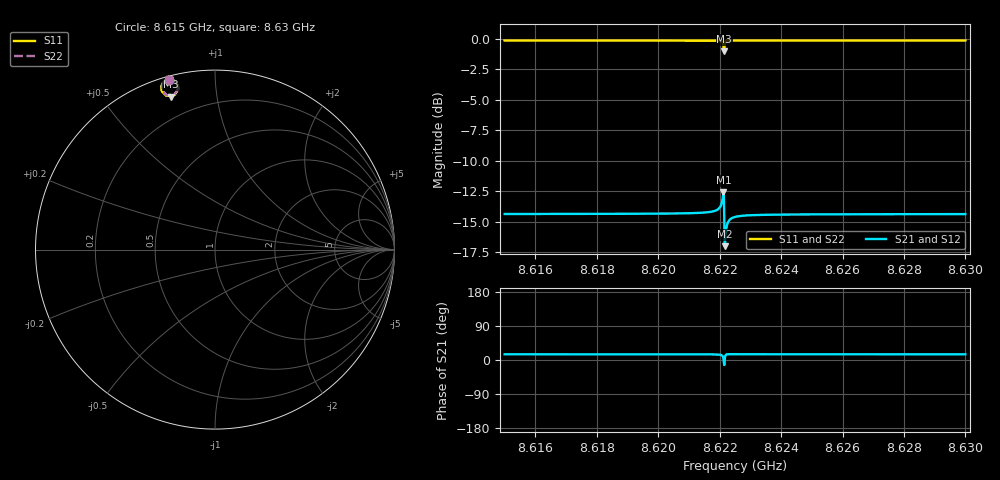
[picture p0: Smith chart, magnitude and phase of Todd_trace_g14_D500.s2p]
! Sonnet Data File
! From: emgraph Version : 16.52
! From Emgraph Data: 171114transmon_trace_brg
! Data File Written: 11/14/2017 20:36:31
!< HDATE 11/14/2017 20:04:23
!< MDATE 11/14/2017 20:04:23
!< PARAMS
!< Lj = 15.24
!< Gap = 14.0
!< Width = 10.0
!< Pwidth = 2000.0
!< Dist = 500.0
!< END PARAMS
# GHZ S MA R 34.87000
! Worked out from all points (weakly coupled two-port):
!   3597 points, 8.615 GHz to 8.63 GHz, reference 34.87 ohm
!   highest |S21| = -12.60 dB at 8.62213 GHz (marker M1); lowest = -17.0 dB at 8.62217 GHz (marker M2)
!   lowest |S11| = -1.0 dB at 8.62214 GHz (marker M3), VSWR 16.82, Z = 3.24 + j26.1 ohm
!   |S11| at or under -10 dB: nowhere
!   |S22| runs from -1.0 to -0.2 dB; largest |S21 - S12| = 4.8e-12
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8.615  0.9815 105.1  0.1912 15.1  0.1912 15.1  0.9815 105.1
!< P1 F=8.615 Eeff=(5.13377404 -5.6313e-5) Z0=(34.6595714 -9.1612e-5) R=0.0 C=0.0
!< P2 F=8.615 Eeff=(5.13377404 -5.6313e-5) Z0=(34.6595714 -9.1612e-5) R=0.0 C=0.0
8.6175  0.9815 105.1  0.1914 15.1  0.1914 15.1  0.9815 105.1
8.62  0.9814 105.1  0.1919 15.0  0.1919 15.0  0.9814 105.0
8.621185  0.9812 105.0  0.1929 15.0  0.1929 15.0  0.9812 104.9
8.621715  0.9806 104.9  0.1952 14.8  0.1952 14.8  0.9806 104.8
8.621945  0.979 104.6  0.1998 14.3  0.1998 14.3  0.979 104.6
8.62202  0.9767 104.3  0.2047 13.7  0.2047 13.7  0.9768 104.3
8.622055  0.9739 104.0  0.2094 12.9  0.2094 12.9  0.974 104.0
8.622065  0.9725 103.9  0.2113 12.6  0.2113 12.6  0.9727 103.9
8.62208  0.9693 103.7  0.2151 11.8  0.2151 11.8  0.9696 103.7
8.622125  0.9287 102.7  0.2344 2.1  0.2344 2.1  0.9305 102.8
8.622145  0.8877 106.1  0.198 -12.6  0.198 -12.6  0.8915 106.1
8.622165  0.9454 108.5  0.1412 -0.1  0.1412 -0.1  0.9472 108.3
8.62221  0.9791 106.7  0.1642 14.1  0.1642 14.1  0.9794 106.6
8.622235  0.9813 106.3  0.1712 14.9  0.1712 14.9  0.9814 106.2
8.622265  0.9821 106.0  0.176 15.2  0.176 15.2  0.9822 105.9
8.622325  0.9825 105.7  0.181 15.3  0.181 15.3  0.9825 105.6
8.6225  0.9823 105.4  0.186 15.3  0.186 15.3  0.9823 105.3
8.623155  0.9819 105.2  0.1893 15.2  0.1893 15.2  0.9819 105.1
8.625  0.9817 105.1  0.1905 15.1  0.1905 15.1  0.9817 105.1
8.6275  0.9816 105.1  0.1909 15.0  0.1909 15.0  0.9816 105.0
8.63  0.9816 105.0  0.191 15.0  0.191 15.0  0.9816 105.0
